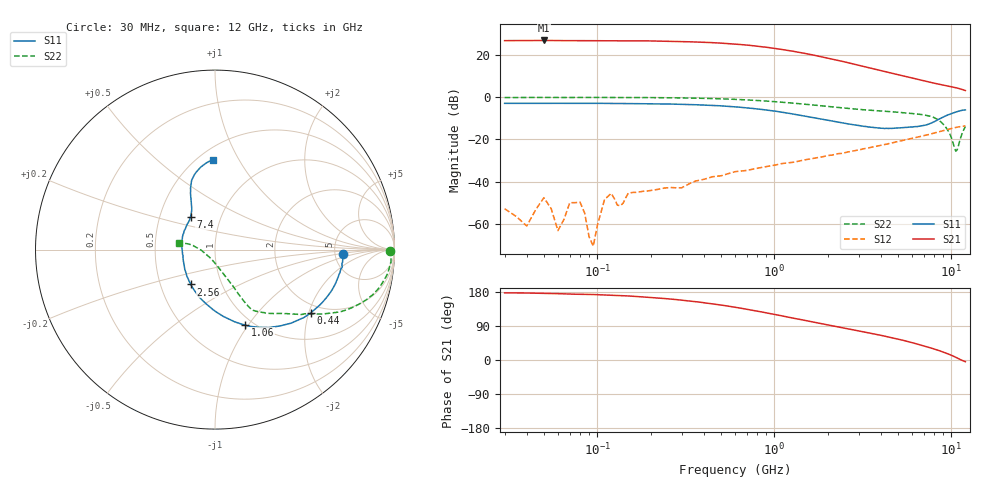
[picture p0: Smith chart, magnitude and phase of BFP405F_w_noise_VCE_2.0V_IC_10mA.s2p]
! Infineon Technologies  Discrete & RF Semiconductors
! BFP405F
! VCE =  2.0 V,  IC =  10 mA
! Common Emitter S-Parameters:  Nov 2015
# GHz  S  MA  R  50
!  f  S11  S21  S12  S22
! GHz  MAG  ANG  MAG  ANG  MAG  ANG  MAG  ANG
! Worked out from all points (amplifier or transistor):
!   239 points, 30 MHz to 12 GHz, reference 50 ohm
!   highest |S21| = 26.8 dB at 50 MHz (marker M1)
!   |S21| within 3 dB of that: start of sweep to 859.1 MHz
!   unconditionally stable (mu >= 1): 58.24 MHz to 60.46 MHz; 93.56 MHz to 100.2 MHz; 2.251 GHz to end of sweep
!   at 300 MHz: K = 0.12, MSG = 34.6 dB, |S12| = -42.9 dB
!   at 1.88 GHz: K = 0.90, MSG = 23.6 dB, |S12| = -28.2 dB
!   at 12 GHz: K = 1.40, MAG = 4.6 dB, |S12| = -13.6 dB
!   lowest NFmin = 1.67 dB at 450 MHz
!   S11 on the Smith chart (normalised r, x): 30 MHz: 5.89, -0.62; 440 MHz: 1.73, -2.06; 1.06 GHz: 0.91, -0.97; 2.56 GHz: 0.71, -0.29; 7.4 GHz: 0.72, +0.28; 12 GHz: 0.59, +0.78
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0.03  0.7125 -2.1  21.63 177.2  0.0023 140.5  0.9757 -0.6
0.04  0.7114 -3.0  21.67 176.8  0.0009 84.9  0.9819 -1.0
0.05  0.7143 -4.3  21.84 175.7  0.0042 5.7  0.984 -1.3
0.06  0.7137 -4.8  21.64 175.1  0.0007 -52.2  0.9776 -1.7
0.07  0.7142 -5.8  21.64 173.9  0.0032 118.2  0.9808 -2.0
0.085  0.7122 -6.7  21.57 173.2  0.0018 118.2  0.9837 -2.6
0.095  0.7145 -7.5  21.55 172.8  0.0003 -70.5  0.9824 -3.0
0.11  0.7098 -8.7  21.48 171.6  0.0038 62.4  0.9818 -3.5
0.12  0.7081 -9.6  21.46 171.1  0.0053 76.1  0.9829 -4.0
0.135  0.7065 -10.8  21.46 170.0  0.0027 83.9  0.981 -4.6
0.24  0.6897 -19.0  20.96 162.2  0.0071 81.0  0.969 -8.3
0.32  0.6708 -24.9  20.42 156.6  0.0083 83.9  0.9532 -10.8
0.44  0.6393 -33.5  19.45 148.7  0.0128 76.4  0.9274 -14.4
0.6  0.5899 -44.0  17.92 139.1  0.0173 73.5  0.8863 -18.5
0.8  0.5267 -55.5  15.99 128.9  0.0208 71.9  0.8321 -22.7
1.06  0.4524 -68.3  13.73 118.1  0.0259 67.8  0.7683 -27.0
1.64  0.3317 -92.5  9.97 100.6  0.0352 65.1  0.6553 -33.2
2.56  0.2364 -124.7  6.627 82.9  0.0498 63.3  0.5457 -41.0
4.5  0.1827 -176.3  3.759 60.1  0.0812 58.8  0.455 -51.1
7.4  0.2284 126.6  2.297 33.7  0.1297 47.4  0.3629 -59.7
10.6  0.4443 103.6  1.671 7.1  0.1923 29.9  0.0525 -125.7
12  0.4989 91.4  1.431 -4.5  0.2096 22.0  0.2019 168.9
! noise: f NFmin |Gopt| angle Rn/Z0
0.45  1.67  0.21  5  0.32
0.9  1.68  0.19  9  0.33
1.5  1.74  0.17  15  0.25
1.9  1.78  0.16  21  0.29
2.4  1.91  0.14  28  0.36
3  1.99  0.12  42  0.35
3.5  2.04  0.1  48  0.34
4.5  2.21  0.08  46  0.2
5.5  2.42  0.04  37  0.06
